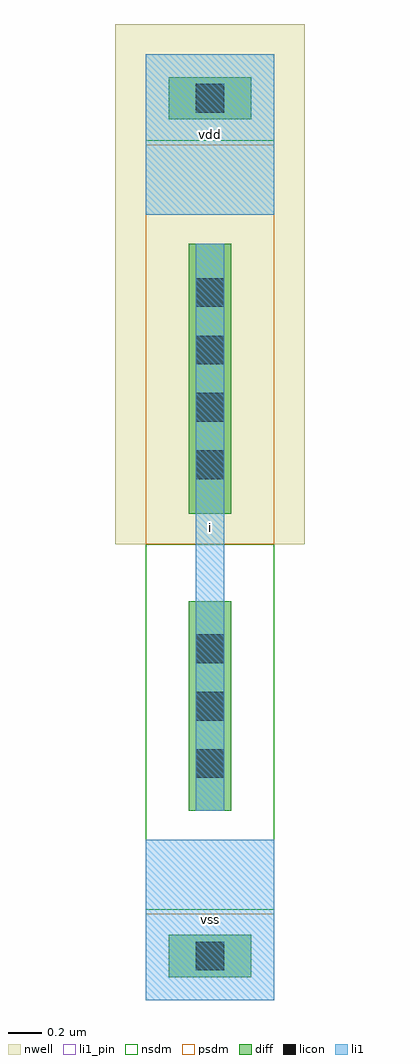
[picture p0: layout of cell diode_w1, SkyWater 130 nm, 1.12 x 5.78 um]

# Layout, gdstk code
import gdstk
lib = gdstk.Library(unit=1e-6, precision=1e-09)
def R(c, l, rs):  # rectangles x0, y0, x1, y1
    for r in rs: c.add(gdstk.rectangle(r[:2], r[2:], *l))
def A(c, l, x, y, w, h, nx, ny, dx, dy):  # array of equal rectangles
    R(c, l, [(x+i*dx, y+j*dy, x+i*dx+w, y+j*dy+h) for i in range(nx) for j in range(ny)])
nwell = (64, 20)
diff = (65, 20)
licon = (66, 44)
li1_pin = (67, 16)
li1 = (67, 20)
nsdm = (93, 44)
psdm = (94, 20)

diode_w1 = lib.new_cell('diode_w1')
R(diode_w1, nwell, [(-0.18,2.7,0.94,5.78)])
R(diode_w1, diff, [(0.135,0.135,0.625,0.385), (0.255,1.12,0.505,2.36), (0.255,2.88,0.505,4.48), (0.135,5.215,0.625,5.465)])
A(diode_w1, licon, 0.295, 1.315, 0.17, 0.17, 1, 3, 0, 0.34)
A(diode_w1, licon, 0.295, 3.085, 0.17, 0.17, 1, 4, 0, 0.34)
R(diode_w1, licon, [(0.295,0.175,0.465,0.345), (0.295,5.255,0.465,5.425)])
R(diode_w1, li1_pin, [(0,0,0.76,0.95), (0.295,1.12,0.465,4.48), (0,4.65,0.76,5.6)])
R(diode_w1, li1, [(0,0,0.76,0.95), (0.295,1.12,0.465,4.48), (0,4.65,0.76,5.6)])
R(diode_w1, nsdm, [(0,0.535,0.76,2.7), (0,5.09,0.76,5.6)])
R(diode_w1, psdm, [(0,0,0.76,0.51), (0,2.7,0.76,5.065)])
diode_w1.add(gdstk.Label('vdd', (0.38,5.125), layer=67, texttype=16))
diode_w1.add(gdstk.Label('vss', (0.38,0.475), layer=67, texttype=16))
diode_w1.add(gdstk.Label('i', (0.38,2.8), layer=67, texttype=16))

lib.write_gds('diode_w1.gds')
